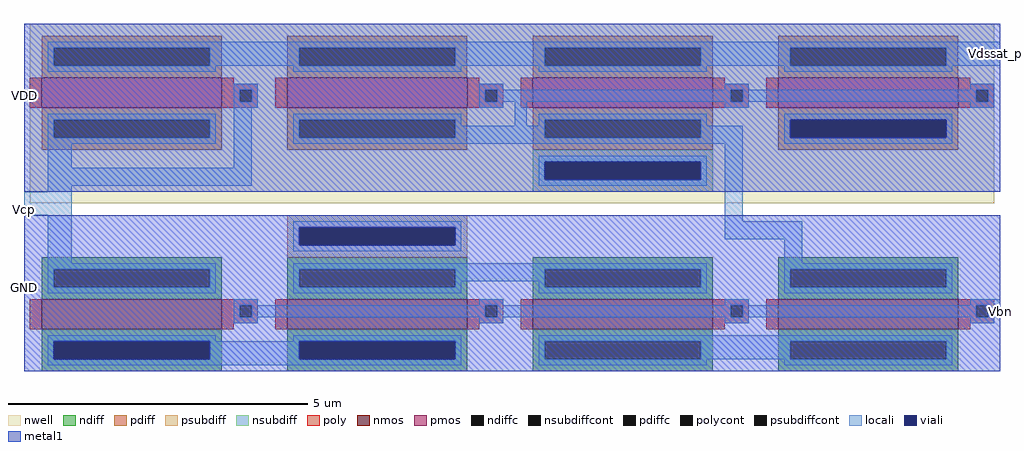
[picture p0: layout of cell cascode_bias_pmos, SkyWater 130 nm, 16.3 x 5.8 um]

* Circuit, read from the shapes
.subckt cascode_bias_pmos Vdssat_p Vbn Vcp VDD GND
XM1 Vcp Vbn GND GND sky130_fd_pr__nfet_01v8 w=3 l=0.5
XM2 GND Vbn GND GND sky130_fd_pr__nfet_01v8 w=3 l=0.5
XM3 GND Vbn n1 GND sky130_fd_pr__nfet_01v8 w=3 l=0.5
XM4 VDD Vbn n1 GND sky130_fd_pr__nfet_01v8 w=3 l=0.5
XM5 Vdssat_p Vcp Vcp VDD sky130_fd_pr__pfet_01v8 w=3 l=0.5
XM6 Vdssat_p VDD VDD VDD sky130_fd_pr__pfet_01v8 w=3 l=0.5 m=3
.ends

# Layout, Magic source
magic
tech sky130A
<< nwell >>
rect -170 190 1440 490
<< nmos >>
rect -150 -20 150 30
rect 260 -20 560 30
rect 670 -20 970 30
rect 1080 -20 1380 30
<< pmos >>
rect -150 350 150 400
rect 260 350 560 400
rect 670 350 970 400
rect 1080 350 1380 400
<< ndiff >>
rect -150 80 150 100
rect -150 50 -130 80
rect 130 50 150 80
rect -150 30 150 50
rect 260 80 560 100
rect 260 50 280 80
rect 540 50 560 80
rect 260 30 560 50
rect 670 80 970 100
rect 670 50 690 80
rect 950 50 970 80
rect 670 30 970 50
rect 1080 80 1380 100
rect 1080 50 1100 80
rect 1360 50 1380 80
rect 1080 30 1380 50
rect -150 -40 150 -20
rect -150 -70 -130 -40
rect 130 -70 150 -40
rect -150 -90 150 -70
rect 260 -40 560 -20
rect 260 -70 280 -40
rect 540 -70 560 -40
rect 260 -90 560 -70
rect 670 -40 970 -20
rect 670 -70 690 -40
rect 950 -70 970 -40
rect 670 -90 970 -70
rect 1080 -40 1380 -20
rect 1080 -70 1100 -40
rect 1360 -70 1380 -40
rect 1080 -90 1380 -70
<< pdiff >>
rect -150 450 150 470
rect -150 420 -130 450
rect 130 420 150 450
rect -150 400 150 420
rect 260 450 560 470
rect 260 420 280 450
rect 540 420 560 450
rect 260 400 560 420
rect 670 450 970 470
rect 670 420 690 450
rect 950 420 970 450
rect 670 400 970 420
rect 1080 450 1380 470
rect 1080 420 1100 450
rect 1360 420 1380 450
rect 1080 400 1380 420
rect -150 330 150 350
rect -150 300 -130 330
rect 130 300 150 330
rect -150 280 150 300
rect 260 330 560 350
rect 260 300 280 330
rect 540 300 560 330
rect 260 280 560 300
rect 670 330 970 350
rect 670 300 690 330
rect 950 300 970 330
rect 670 280 970 300
rect 1080 330 1380 350
rect 1080 300 1100 330
rect 1360 300 1380 330
rect 1080 280 1380 300
<< ndiffc >>
rect -130 50 130 80
rect 280 50 540 80
rect 690 50 950 80
rect 1100 50 1360 80
rect -130 -70 130 -40
rect 280 -70 540 -40
rect 690 -70 950 -40
rect 1100 -70 1360 -40
<< pdiffc >>
rect -130 420 130 450
rect 280 420 540 450
rect 690 420 950 450
rect 1100 420 1360 450
rect -130 300 130 330
rect 280 300 540 330
rect 690 300 950 330
rect 1100 300 1360 330
<< psubdiff >>
rect 260 150 560 170
rect 260 120 280 150
rect 540 120 560 150
rect 260 100 560 120
<< nsubdiff >>
rect 670 260 970 280
rect 670 230 690 260
rect 950 230 970 260
rect 670 210 970 230
<< psubdiffcont >>
rect 280 120 540 150
<< nsubdiffcont >>
rect 690 230 950 260
<< poly >>
rect -170 350 -150 400
rect 150 390 170 400
rect 150 380 210 390
rect 150 360 180 380
rect 200 360 210 380
rect 150 350 210 360
rect 240 350 260 400
rect 560 390 580 400
rect 560 380 620 390
rect 560 360 590 380
rect 610 360 620 380
rect 560 350 620 360
rect 650 350 670 400
rect 970 390 990 400
rect 970 380 1030 390
rect 970 360 1000 380
rect 1020 360 1030 380
rect 970 350 1030 360
rect 1060 350 1080 400
rect 1380 390 1400 400
rect 1380 380 1440 390
rect 1380 360 1410 380
rect 1430 360 1440 380
rect 1380 350 1440 360
rect -170 -20 -150 30
rect 150 20 210 30
rect 150 0 180 20
rect 200 0 210 20
rect 150 -10 210 0
rect 150 -20 170 -10
rect 240 -20 260 30
rect 560 20 620 30
rect 560 0 590 20
rect 610 0 620 20
rect 560 -10 620 0
rect 560 -20 580 -10
rect 650 -20 670 30
rect 970 20 1030 30
rect 970 0 1000 20
rect 1020 0 1030 20
rect 970 -10 1030 0
rect 970 -20 990 -10
rect 1060 -20 1080 30
rect 1380 20 1440 30
rect 1380 0 1410 20
rect 1430 0 1440 20
rect 1380 -10 1440 0
rect 1380 -20 1400 -10
<< polycont >>
rect 180 360 200 380
rect 590 360 610 380
rect 1000 360 1020 380
rect 1410 360 1430 380
rect 180 0 200 20
rect 590 0 610 20
rect 1000 0 1020 20
rect 1410 0 1430 20
<< locali >>
rect -140 450 1450 460
rect -140 420 -130 450
rect 130 420 280 450
rect 540 420 690 450
rect 950 420 1100 450
rect 1360 420 1450 450
rect -140 410 140 420
rect 270 410 550 420
rect 680 410 960 420
rect 1090 410 1370 420
rect 170 380 210 390
rect 170 360 180 380
rect 200 360 210 380
rect 170 350 210 360
rect 580 380 620 390
rect 990 380 1030 390
rect 1400 380 1440 390
rect 580 360 590 380
rect 610 360 1000 380
rect 1020 360 1410 380
rect 1430 360 1440 380
rect 580 350 620 360
rect -140 330 140 340
rect -140 300 -130 330
rect 130 300 140 330
rect -140 290 140 300
rect -140 250 -100 290
rect 170 250 200 350
rect 270 330 550 340
rect 270 300 280 330
rect 540 320 550 330
rect 640 320 660 360
rect 990 350 1030 360
rect 1400 350 1440 360
rect 680 330 960 340
rect 680 320 690 330
rect 540 300 690 320
rect 950 320 960 330
rect 1090 330 1370 340
rect 950 300 1020 320
rect 270 290 1020 300
rect 1090 300 1100 330
rect 1360 300 1370 330
rect 1090 290 1370 300
rect -140 220 200 250
rect 680 260 960 270
rect 680 230 690 260
rect 950 230 960 260
rect 680 220 960 230
rect -140 210 -100 220
rect -180 170 -100 210
rect -140 90 -100 170
rect 990 160 1020 290
rect 270 150 550 160
rect 270 120 280 150
rect 540 120 550 150
rect 990 130 1120 160
rect 270 110 550 120
rect 1090 90 1120 130
rect -140 80 140 90
rect -140 50 -130 80
rect 130 50 140 80
rect -140 40 140 50
rect 270 80 960 90
rect 270 50 280 80
rect 540 60 690 80
rect 540 50 550 60
rect 270 40 550 50
rect 680 50 690 60
rect 950 50 960 80
rect 680 40 960 50
rect 1090 80 1370 90
rect 1090 50 1100 80
rect 1360 50 1370 80
rect 1090 40 1370 50
rect 170 20 210 30
rect 580 20 620 30
rect 990 20 1030 30
rect 1400 20 1450 30
rect 170 0 180 20
rect 200 0 590 20
rect 610 0 1000 20
rect 1020 0 1410 20
rect 1430 0 1450 20
rect 170 -10 210 0
rect 580 -10 620 0
rect 990 -10 1030 0
rect 1400 -10 1440 0
rect -140 -40 140 -30
rect 270 -40 550 -30
rect -140 -70 -130 -40
rect 130 -70 280 -40
rect 540 -70 550 -40
rect -140 -80 550 -70
rect 680 -40 1370 -30
rect 680 -70 690 -40
rect 950 -70 1100 -40
rect 1360 -70 1370 -40
rect 680 -80 960 -70
rect 1090 -80 1370 -70
<< viali >>
rect 1100 300 1360 330
rect 690 230 950 260
rect 280 120 540 150
rect -130 -70 130 -40
rect 280 -70 540 -40
<< metal1 >>
rect -180 330 1450 490
rect -180 300 1100 330
rect 1360 300 1450 330
rect -180 260 1450 300
rect -180 230 690 260
rect 950 230 1450 260
rect -180 210 1450 230
rect -180 150 1450 170
rect -180 120 280 150
rect 540 120 1450 150
rect -180 -40 1450 120
rect -180 -70 -130 -40
rect 130 -70 280 -40
rect 540 -70 1450 -40
rect -180 -90 1450 -70
<< labels >>
rlabel locali 1450 10 1450 10 3 Vbn
port 2 e
rlabel locali -180 180 -180 180 7 Vcp
port 3 w
rlabel metal1 -180 370 -180 370 7 VDD
port 4 w
rlabel metal1 -180 50 -180 50 7 GND
port 5 w
rlabel locali 1450 440 1450 440 3 Vdssat_p
port 1 e
<< end >>
